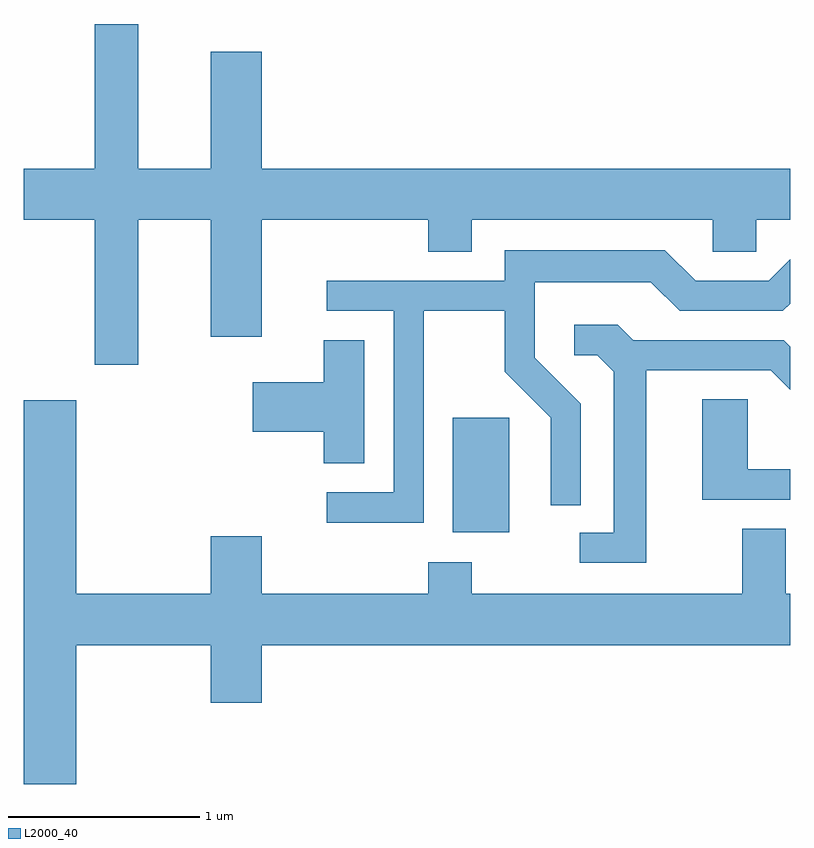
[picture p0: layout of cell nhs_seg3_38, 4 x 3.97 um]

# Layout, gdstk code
import gdstk
lib = gdstk.Library(unit=1e-6, precision=1e-09)
def R(c, l, rs):  # rectangles x0, y0, x1, y1
    for r in rs: c.add(gdstk.rectangle(r[:2], r[2:], *l))
def P(c, l, *ps):  # polygons
    for p in ps: c.add(gdstk.Polygon(p, *l))
L2000_40 = (2000, 40)

nhs_seg3_38 = lib.new_cell('nhs_seg3_38')
R(nhs_seg3_38, L2000_40, [(187.851,1193.206,188.144,1193.804)])
P(nhs_seg3_38, L2000_40, [(186.209,1194.836),(186.586,1194.836),(186.586,1194.226),(186.854,1194.226),(186.854,1194.836),(187.721,1194.836),(187.721,1194.671),(187.949,1194.671),(187.949,1194.836),(189.206,1194.836),(189.206,1194.671),(189.434,1194.671),(189.434,1194.836),(189.611,1194.836),(189.611,1195.104),(186.854,1195.104),(186.854,1195.714),(186.586,1195.714),(186.586,1195.104),(186.209,1195.104),(186.209,1195.859),(185.981,1195.859),(185.981,1195.104),(185.611,1195.104),(185.611,1194.836),(185.981,1194.836),(185.981,1194.081),(186.209,1194.081)],
  [(187.699,1194.361),(188.121,1194.361),(188.121,1194.044),(188.361,1193.804),(188.361,1193.348),(188.519,1193.348),(188.519,1193.877),(188.279,1194.117),(188.279,1194.511),(188.884,1194.511),(189.034,1194.361),(189.572,1194.361),(189.611,1194.4),(189.611,1194.631),(189.499,1194.519),(189.117,1194.519),(188.957,1194.679),(188.121,1194.679),(188.121,1194.519),(187.193,1194.519),(187.193,1194.361),(187.541,1194.361),(187.541,1193.414),(187.193,1193.414),(187.193,1193.256),(187.699,1193.256)],
  [(188.859,1194.051),(189.509,1194.051),(189.611,1193.949),(189.611,1194.175),(189.577,1194.209),(188.792,1194.209),(188.712,1194.289),(188.483,1194.289),(188.483,1194.131),(188.604,1194.131),(188.691,1194.044),(188.691,1193.204),(188.513,1193.204),(188.513,1193.046),(188.859,1193.046)],
  [(187.389,1194.209),(187.176,1194.209),(187.176,1193.989),(186.806,1193.989),(186.806,1193.731),(187.176,1193.731),(187.176,1193.566),(187.389,1193.566)],
  [(189.611,1193.534),(189.389,1193.534),(189.389,1193.899),(189.151,1193.899),(189.151,1193.376),(189.611,1193.376)],
  [(185.884,1192.616),(186.586,1192.616),(186.586,1192.316),(186.854,1192.316),(186.854,1192.616),(189.611,1192.616),(189.611,1192.884),(189.589,1192.884),(189.589,1193.224),(189.361,1193.224),(189.361,1192.884),(187.949,1192.884),(187.949,1193.049),(187.721,1193.049),(187.721,1192.884),(186.854,1192.884),(186.854,1193.184),(186.586,1193.184),(186.586,1192.884),(185.884,1192.884),(185.884,1193.894),(185.611,1193.894),(185.611,1191.892),(185.884,1191.892)])

lib.write_gds('nhs_seg3_38.gds')
